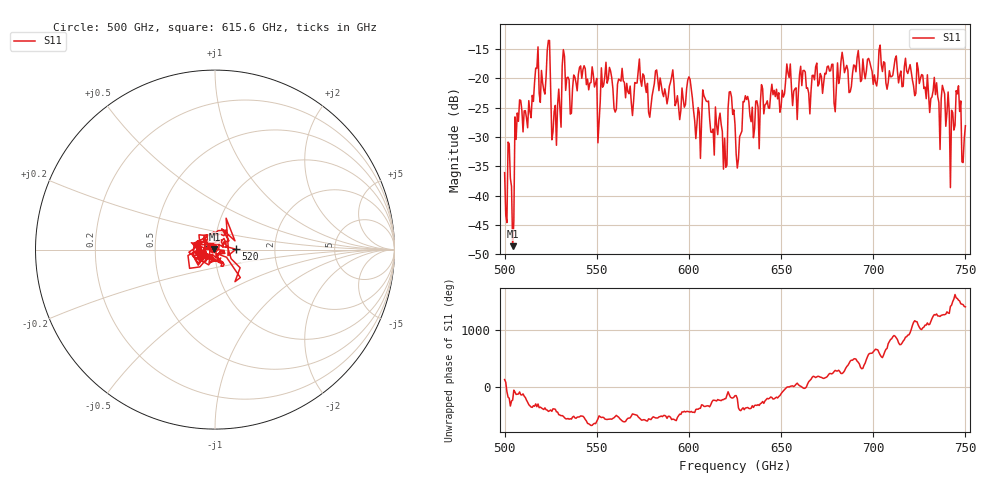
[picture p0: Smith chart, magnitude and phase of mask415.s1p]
!Created with skrf (http://scikit-rf.org).
# GHz S MA R 50.0
!freq magS11 angS11
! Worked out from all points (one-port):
!   401 points, 500 GHz to 750 GHz, reference 50 ohm
!   lowest |S11| = -48.6 dB at 504.4 GHz (marker M1), VSWR 1.01, Z = 49.7 + j0.234 ohm
!   |S11| at or under -10 dB: start of sweep to end of sweep
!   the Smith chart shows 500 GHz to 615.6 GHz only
!   S11 on the Smith chart (normalised r, x): 500 GHz: 0.98, +0.02; 520 GHz: 1.26, +0.00; 615.6 GHz: 0.94, +0.03
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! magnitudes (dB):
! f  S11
! 500 GHz  -36.1
! 504.4 GHz  -48.6
! 508.1 GHz  -23.7
! 520 GHz  -18.7
! 523.8 GHz  -13.5
! 526.9 GHz  -25.7
! 531.2 GHz  -17.9
! 542.5 GHz  -18.5
! 550.6 GHz  -31.0
! 562.5 GHz  -20.3
! 593.8 GHz  -23.0
! 600 GHz  -19.8
! 605 GHz  -25.0
! 608.8 GHz  -23.4
! 612.5 GHz  -29.2
! 615.6 GHz  -29.6
! 619.4 GHz  -30.2
! 623.1 GHz  -23.2
! 625 GHz  -27.9
! 626.9 GHz  -33.8
! 630.6 GHz  -23.0
! 634.4 GHz  -24.9
! 656.2 GHz  -24.7
! 687.5 GHz  -22.3
! 718.8 GHz  -19.2
! 743.1 GHz  -25.9
! 746.2 GHz  -21.3
! 750 GHz  -28.1
